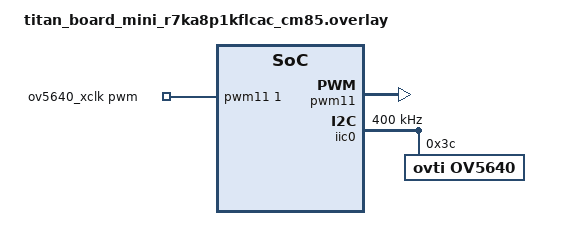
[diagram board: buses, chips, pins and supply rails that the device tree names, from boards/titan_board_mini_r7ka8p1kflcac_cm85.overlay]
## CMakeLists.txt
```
# SPDX-License-Identifier: Apache-2.0

cmake_minimum_required(VERSION 3.20.0)

find_package(Zephyr REQUIRED HINTS $ENV{ZEPHYR_BASE})
project(titan_board_mini_ov5640_af_mipi_probe)

target_sources(app PRIVATE src/main.c)
```

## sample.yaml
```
sample:
  name: Titan Board Mini OV5640 AF MIPI probe
  description: Probe the Titan Board Mini OV5640 sensor over SCCB/I2C with MIPI endpoint metadata.
common:
  platform_allow:
    - titan_board_mini/r7ka8p1kflcac/cm85
  integration_platforms:
    - titan_board_mini/r7ka8p1kflcac/cm85
tests:
  sample.drivers.video.titan_board_mini_ov5640_af_mipi_probe:
    tags:
      - video
      - camera
    build_only: true
```

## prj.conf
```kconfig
CONFIG_GPIO=y
CONFIG_I2C=y
CONFIG_LOG=y
CONFIG_PWM=y
CONFIG_CLOCK_CONTROL=y
CONFIG_CLOCK_CONTROL_PWM=y
CONFIG_VIDEO=y
CONFIG_VIDEO_OV5640=y
CONFIG_TITAN_BOARD_MINI_OV5640_XCLK=y
```

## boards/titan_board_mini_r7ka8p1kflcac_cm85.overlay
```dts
/*
 * Copyright (c) 2026 RT-Thread
 * SPDX-License-Identifier: Apache-2.0
 */

#include <zephyr/dt-bindings/pwm/pwm.h>
#include <zephyr/dt-bindings/video/video-interfaces.h>

/ {
	/* GPT clocking in this board build produces an exact 25 MHz XCLK tick rate. */
	ov5640_xclk: ov5640-xclk {
		compatible = "pwm-clock";
		#clock-cells = <1>;
		pwms = <&pwm11 1 PWM_HZ(25000000) PWM_POLARITY_NORMAL>;
		clock-frequency = <25000000>;
		pwm-on-delay = <1000>;
		status = "okay";
	};
};

&pwm11 {
	pinctrl-0 = <&pwm11_camera_xclk_default>;
	pinctrl-names = "default";
	interrupts = <38 12>, <39 12>;
	interrupt-names = "gtioca", "overflow";
	status = "okay";
};

&iic0 {
	clock-frequency = <I2C_BITRATE_FAST>;
	pinctrl-0 = <&iic0_camera_default>;
	pinctrl-names = "default";
	status = "okay";

	ov5640: ov5640@3c {
		compatible = "ovti,ov5640";
		reg = <0x3c>;

		port {
			ov5640_mipi_ep_out: endpoint {
				remote-endpoint-label = "titan_mipi_csi2_ep_in";
				bus-type = <VIDEO_BUS_TYPE_CSI2_DPHY>;
				data-lanes = <1 2>;
			};
		};
	};
};
```

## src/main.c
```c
/*
 * Copyright (c) 2026 RT-Thread
 * SPDX-License-Identifier: Apache-2.0
 */

#include <zephyr/device.h>
#include <zephyr/devicetree.h>
#include <zephyr/drivers/video.h>
#include <zephyr/drivers/video-controls.h>
#include <zephyr/kernel.h>
#include <zephyr/logging/log.h>

LOG_MODULE_REGISTER(ov5640_af_mipi_probe, CONFIG_LOG_DEFAULT_LEVEL);

#define OV5640_NODE DT_NODELABEL(ov5640)

#define OV5640_PROBE_MAGIC 0x4f563536U

struct ov5640_probe_result {
	uint32_t magic;
	uint32_t step;
	int32_t ret;
	uint32_t device_ready;
	uint32_t caps_count;
	uint32_t pixelformat;
	uint32_t width;
	uint32_t height;
	int32_t get_caps_ret;
	int32_t get_format_ret;
	int32_t test_pattern_ctrl_ret;
	int32_t focus_auto_ctrl_ret;
	int32_t focus_absolute_ctrl_ret;
};

volatile struct ov5640_probe_result ov5640_probe_result = {
	.magic = OV5640_PROBE_MAGIC,
};

BUILD_ASSERT(DT_NODE_HAS_STATUS(OV5640_NODE, okay), "OV5640 probe sample requires ov5640 node");

static const struct device *const ov5640 = DEVICE_DT_GET(OV5640_NODE);

static int query_control(uint32_t id, const char *name)
{
	struct video_ctrl_query query = {
		.dev = ov5640,
		.id = id,
	};
	int ret;

	ret = video_query_ctrl(&query);
	if (ret == 0) {
		LOG_INF("%s control present: type=%u flags=0x%x", name, query.type, query.flags);
	} else {
		LOG_INF("%s control unavailable: %d", name, ret);
	}

	return ret;
}

int main(void)
{
	struct video_caps caps = {
		.type = VIDEO_BUF_TYPE_OUTPUT,
	};
	struct video_format fmt = {
		.type = VIDEO_BUF_TYPE_OUTPUT,
	};
	const struct video_format_cap *cap;
	int ret;

	LOG_INF("Titan Board Mini OV5640 MIPI probe");
	ov5640_probe_result.step = 1;

	if (!device_is_ready(ov5640)) {
		ov5640_probe_result.ret = -ENODEV;
		LOG_ERR("%s is not ready", ov5640->name);
		return 0;
	}
	ov5640_probe_result.device_ready = 1;
	ov5640_probe_result.step = 2;

	ret = video_get_caps(ov5640, &caps);
	ov5640_probe_result.get_caps_ret = ret;
	if (ret != 0) {
		ov5640_probe_result.ret = ret;
		LOG_ERR("video_get_caps failed: %d", ret);
		return 0;
	}
	ov5640_probe_result.step = 3;

	LOG_INF("OV5640 output caps: min_vbuf_count=%u buf_align=%zu",
		caps.min_vbuf_count, caps.buf_align);

	for (cap = caps.format_caps; cap != NULL && cap->pixelformat != 0; cap++) {
		LOG_INF("format 0x%08x: %ux%u..%ux%u step %u/%u",
			cap->pixelformat, cap->width_min, cap->height_min,
			cap->width_max, cap->height_max, cap->width_step, cap->height_step);
		ov5640_probe_result.caps_count++;
	}

	ret = video_get_format(ov5640, &fmt);
	ov5640_probe_result.get_format_ret = ret;
	if (ret == 0) {
		ov5640_probe_result.pixelformat = fmt.pixelformat;
		ov5640_probe_result.width = fmt.width;
		ov5640_probe_result.height = fmt.height;
		LOG_INF("current format 0x%08x %ux%u pitch=%u size=%u",
			fmt.pixelformat, fmt.width, fmt.height, fmt.pitch, fmt.size);
	} else {
		ov5640_probe_result.ret = ret;
		LOG_ERR("video_get_format failed: %d", ret);
	}

	ov5640_probe_result.test_pattern_ctrl_ret = query_control(VIDEO_CID_TEST_PATTERN,
								    "test-pattern");
	ov5640_probe_result.focus_auto_ctrl_ret = query_control(VIDEO_CID_FOCUS_AUTO,
								  "focus-auto");
	ov5640_probe_result.focus_absolute_ctrl_ret = query_control(VIDEO_CID_FOCUS_ABSOLUTE,
								      "focus-absolute");
	ov5640_probe_result.step = 4;

	return 0;
}
```
